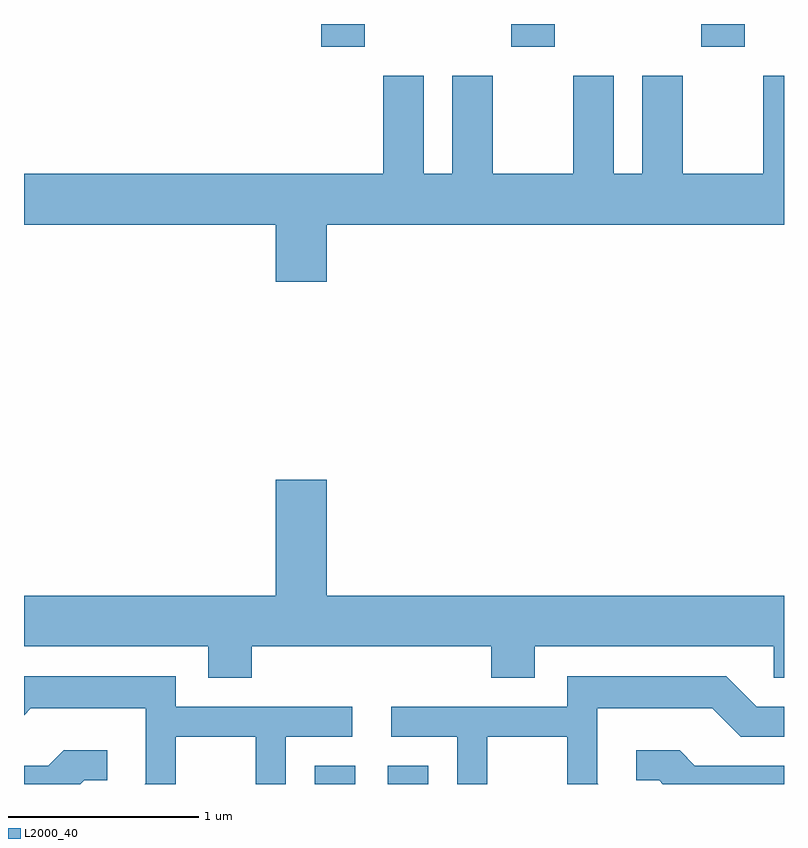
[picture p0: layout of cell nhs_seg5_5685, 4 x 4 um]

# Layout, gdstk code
import gdstk
lib = gdstk.Library(unit=1e-6, precision=1e-09)
def R(c, l, rs):  # rectangles x0, y0, x1, y1
    for r in rs: c.add(gdstk.rectangle(r[:2], r[2:], *l))
def A(c, l, x, y, w, h, nx, ny, dx, dy):  # array of equal rectangles
    R(c, l, [(x+i*dx, y+j*dy, x+i*dx+w, y+j*dy+h) for i in range(nx) for j in range(ny)])
def P(c, l, *ps):  # polygons
    for p in ps: c.add(gdstk.Polygon(p, *l))
L2000_40 = (2000, 40)

nhs_seg5_5685 = lib.new_cell('nhs_seg5_5685')
A(nhs_seg5_5685, L2000_40, 355.176, 1459.951, 0.228, 0.121, 3, 1, 1, 0)
R(nhs_seg5_5685, L2000_40, [(355.141,1456.072,355.354,1456.169), (355.526,1456.072,355.739,1456.169)])
P(nhs_seg5_5685, L2000_40, [(355.204,1459.016),(357.611,1459.016),(357.611,1459.799),(357.501,1459.799),(357.501,1459.284),(357.079,1459.284),(357.079,1459.799),(356.866,1459.799),(356.866,1459.284),(356.714,1459.284),(356.714,1459.799),(356.501,1459.799),(356.501,1459.284),(356.079,1459.284),(356.079,1459.799),(355.866,1459.799),(355.866,1459.284),(355.714,1459.284),(355.714,1459.799),(355.501,1459.799),(355.501,1459.284),(353.611,1459.284),(353.611,1459.016),(354.936,1459.016),(354.936,1458.716),(355.204,1458.716)],
  [(354.809,1456.796),(356.071,1456.796),(356.071,1456.631),(356.299,1456.631),(356.299,1456.796),(357.556,1456.796),(357.556,1456.631),(357.611,1456.631),(357.611,1457.064),(355.204,1457.064),(355.204,1457.674),(354.936,1457.674),(354.936,1457.064),(353.611,1457.064),(353.611,1456.796),(354.581,1456.796),(354.581,1456.631),(354.809,1456.631)],
  [(356.049,1456.321),(356.471,1456.321),(356.471,1456.072),(356.634,1456.072),(356.629,1456.077),(356.629,1456.471),(357.234,1456.471),(357.384,1456.321),(357.611,1456.321),(357.611,1456.479),(357.467,1456.479),(357.307,1456.639),(356.471,1456.639),(356.471,1456.479),(355.543,1456.479),(355.543,1456.321),(355.891,1456.321),(355.891,1456.072),(356.049,1456.072)],
  [(354.409,1456.321),(354.831,1456.321),(354.831,1456.072),(354.989,1456.072),(354.989,1456.321),(355.338,1456.321),(355.338,1456.479),(354.409,1456.479),(354.409,1456.639),(353.611,1456.639),(353.611,1456.435),(353.647,1456.471),(354.251,1456.471),(354.251,1456.077),(354.246,1456.072),(354.409,1456.072)],
  [(357.611,1456.169),(357.142,1456.169),(357.062,1456.249),(356.833,1456.249),(356.833,1456.091),(356.954,1456.091),(356.973,1456.072),(357.611,1456.072)],
  [(353.927,1456.091),(354.048,1456.091),(354.048,1456.249),(353.819,1456.249),(353.739,1456.169),(353.611,1456.169),(353.611,1456.072),(353.908,1456.072)])

lib.write_gds('nhs_seg5_5685.gds')
